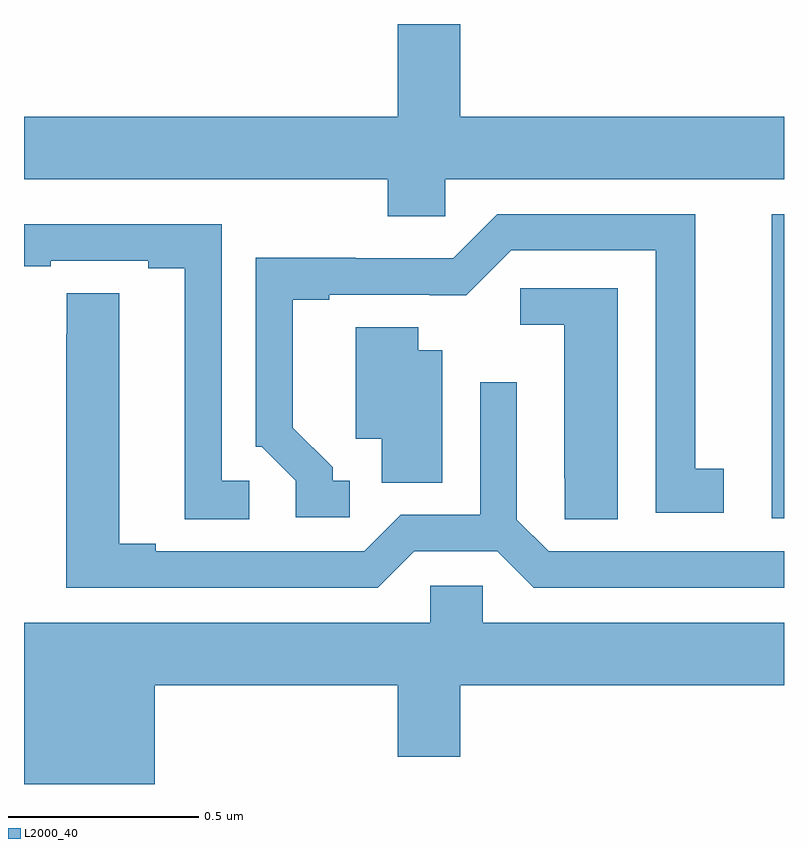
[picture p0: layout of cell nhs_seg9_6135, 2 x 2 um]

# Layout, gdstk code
import gdstk
lib = gdstk.Library(unit=1e-6, precision=1e-09)
def R(c, l, rs):  # rectangles x0, y0, x1, y1
    for r in rs: c.add(gdstk.rectangle(r[:2], r[2:], *l))
def P(c, l, *ps):  # polygons
    for p in ps: c.add(gdstk.Polygon(p, *l))
L2000_40 = (2000, 40)

nhs_seg9_6135 = lib.new_cell('nhs_seg9_6135')
R(nhs_seg9_6135, L2000_40, [(189.968,1190.199,190,1191)])
P(nhs_seg9_6135, L2000_40, [(189.108,1191.092),(190,1191.092),(190,1191.256),(189.148,1191.256),(189.148,1191.5),(188.984,1191.5),(188.984,1191.256),(188,1191.256),(188,1191.092),(188.957,1191.092),(188.957,1190.994),(189.108,1190.994)],
  [(188.857,1190.298),(188.812,1190.298),(188.812,1190.333),(188.707,1190.438),(188.707,1190.775),(188.803,1190.775),(188.803,1190.787),(189.068,1190.787),(189.068,1190.786),(189.164,1190.786),(189.282,1190.904),(189.662,1190.904),(189.662,1190.214),(189.841,1190.214),(189.841,1190.33),(189.766,1190.33),(189.766,1191),(189.246,1191),(189.129,1190.883),(188.873,1190.883),(188.873,1190.885),(188.61,1190.885),(188.61,1190.388),(188.625,1190.388),(188.715,1190.298),(188.715,1190.202),(188.857,1190.202)],
  [(188.593,1190.298),(188.52,1190.298),(188.52,1190.973),(188,1190.973),(188,1190.862),(188.071,1190.862),(188.071,1190.877),(188.327,1190.877),(188.327,1190.857),(188.423,1190.857),(188.423,1190.197),(188.593,1190.197)],
  [(189.562,1190.805),(189.306,1190.805),(189.306,1190.708),(189.422,1190.708),(189.422,1190.305),(189.423,1190.305),(189.423,1190.197),(189.562,1190.197)],
  [(189.027,1190.112),(189.245,1190.112),(189.341,1190.016),(190,1190.016),(190,1190.112),(189.381,1190.112),(189.297,1190.196),(189.297,1190.557),(189.201,1190.557),(189.201,1190.208),(188.991,1190.208),(188.895,1190.112),(188.347,1190.112),(188.347,1190.132),(188.251,1190.132),(188.251,1190.792),(188.112,1190.792),(188.112,1190.684),(188.111,1190.684),(188.111,1190.016),(188.931,1190.016)],
  [(189.1,1190.641),(189.037,1190.641),(189.037,1190.702),(188.873,1190.702),(188.873,1190.408),(188.942,1190.408),(188.942,1190.293),(189.1,1190.293)],
  [(188.344,1189.76),(188.984,1189.76),(188.984,1189.572),(189.148,1189.572),(189.148,1189.76),(190,1189.76),(190,1189.924),(189.207,1189.924),(189.207,1190.022),(189.069,1190.022),(189.069,1189.924),(188,1189.924),(188,1189.5),(188.344,1189.5)])

lib.write_gds('nhs_seg9_6135.gds')
